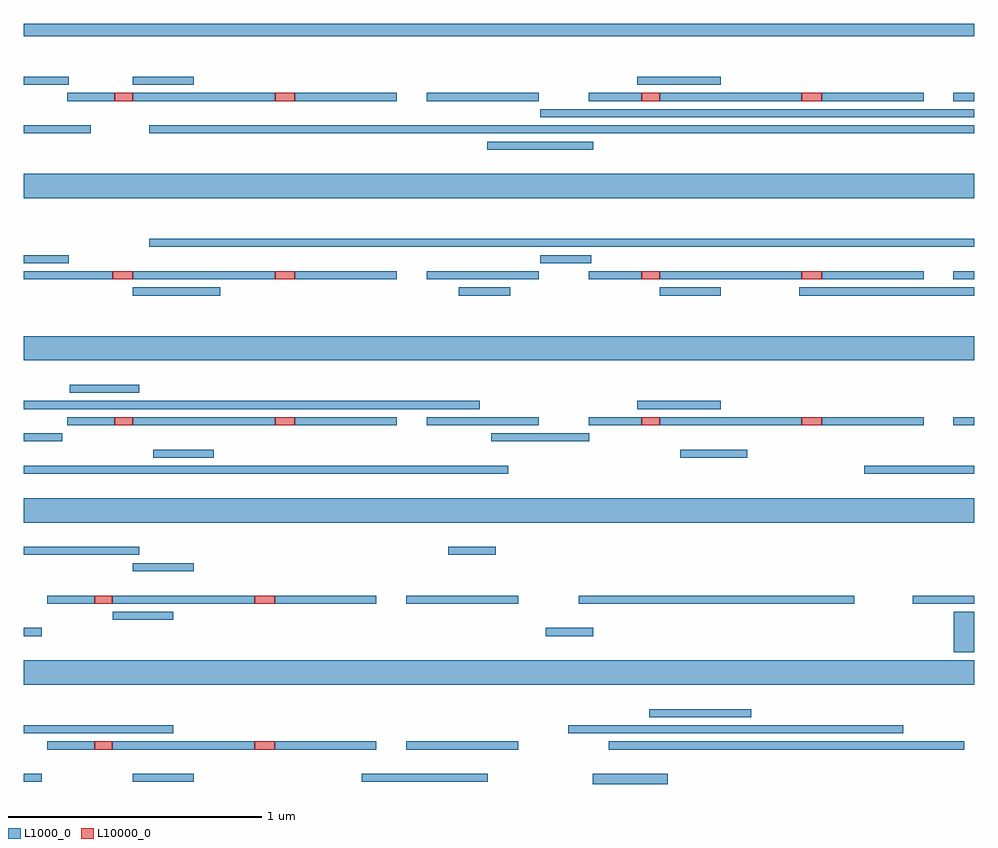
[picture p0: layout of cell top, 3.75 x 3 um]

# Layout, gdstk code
import gdstk
lib = gdstk.Library(unit=1e-6, precision=1e-09)
def R(c, l, rs):  # rectangles x0, y0, x1, y1
    for r in rs: c.add(gdstk.rectangle(r[:2], r[2:], *l))
def A(c, l, x, y, w, h, nx, ny, dx, dy):  # array of equal rectangles
    R(c, l, [(x+i*dx, y+j*dy, x+i*dx+w, y+j*dy+h) for i in range(nx) for j in range(ny)])
L1000_0 = (1000, 0)
L10000_0 = (10000, 0)

top = lib.new_cell('top')
A(top, L1000_0, 133.25, 269.392, 3.75, 0.096, 1, 4, 0, 0.64)
R(top, L1000_0, [(135.496,269,135.792,269.04), (133.25,269.008,133.321,269.04), (133.68,269.008,133.92,269.04), (134.583,269.008,135.081,269.04), (133.341,269.136,133.529,269.168), (133.599,269.136,134.161,269.168), (134.239,269.136,134.641,269.168), (134.759,269.136,135.201,269.168), (135.558,269.136,136.961,269.168), (133.25,269.2,133.84,269.232), (135.399,269.2,136.721,269.232), (135.719,269.264,136.121,269.296), (136.92,269.52,137,269.68), (133.25,269.584,133.321,269.616), (135.309,269.584,135.497,269.616), (133.6,269.648,133.84,269.68), (133.341,269.712,133.529,269.744), (133.599,269.712,134.161,269.744), (134.239,269.712,134.641,269.744), (134.759,269.712,135.201,269.744), (135.439,269.712,136.528,269.744), (136.758,269.712,137,269.744), (133.68,269.84,133.92,269.872), (133.25,269.904,133.705,269.936), (134.925,269.904,135.113,269.936), (133.25,270.224,135.161,270.256), (136.567,270.224,137,270.256), (133.76,270.288,134,270.32), (135.84,270.288,136.105,270.32), (133.25,270.352,133.401,270.384), (135.095,270.352,135.481,270.384), (133.421,270.416,133.609,270.448), (133.679,270.416,134.241,270.448), (134.319,270.416,134.721,270.448), (134.839,270.416,135.281,270.448), (135.479,270.416,135.689,270.448), (135.759,270.416,136.321,270.448), (136.399,270.416,136.801,270.448), (136.919,270.416,137,270.448), (133.25,270.48,135.049,270.512), (135.671,270.48,136,270.512), (133.431,270.544,133.705,270.576), (133.68,270.928,134.025,270.96), (134.967,270.928,135.169,270.96), (135.76,270.928,136,270.96), (136.311,270.928,137,270.96), (133.25,270.992,133.601,271.024), (133.679,270.992,134.241,271.024), (134.319,270.992,134.721,271.024), (134.839,270.992,135.281,271.024), (135.479,270.992,135.689,271.024), (135.759,270.992,136.321,271.024), (136.399,270.992,136.801,271.024), (136.919,270.992,137,271.024), (133.25,271.056,133.427,271.088), (135.287,271.056,135.489,271.088), (133.744,271.12,137,271.152), (135.079,271.504,135.497,271.536), (133.25,271.568,133.513,271.6), (133.744,271.568,137,271.6), (135.287,271.632,137,271.664), (133.421,271.696,133.609,271.728), (133.679,271.696,134.241,271.728), (134.319,271.696,134.721,271.728), (134.839,271.696,135.281,271.728), (135.479,271.696,135.689,271.728), (135.759,271.696,136.321,271.728), (136.399,271.696,136.801,271.728), (136.919,271.696,137,271.728), (133.25,271.76,133.427,271.792), (133.68,271.76,133.92,271.792), (135.671,271.76,136,271.792), (133.25,271.952,137,272)])
R(top, L10000_0, [(133.529,269.136,133.599,269.168), (134.161,269.136,134.239,269.168), (133.529,269.712,133.599,269.744), (134.161,269.712,134.239,269.744), (133.609,270.416,133.679,270.448), (134.241,270.416,134.319,270.448), (135.689,270.416,135.759,270.448), (136.321,270.416,136.399,270.448), (133.601,270.992,133.679,271.024), (134.241,270.992,134.319,271.024), (135.689,270.992,135.759,271.024), (136.321,270.992,136.399,271.024), (133.609,271.696,133.679,271.728), (134.241,271.696,134.319,271.728), (135.689,271.696,135.759,271.728), (136.321,271.696,136.399,271.728)])

lib.write_gds('top.gds')
